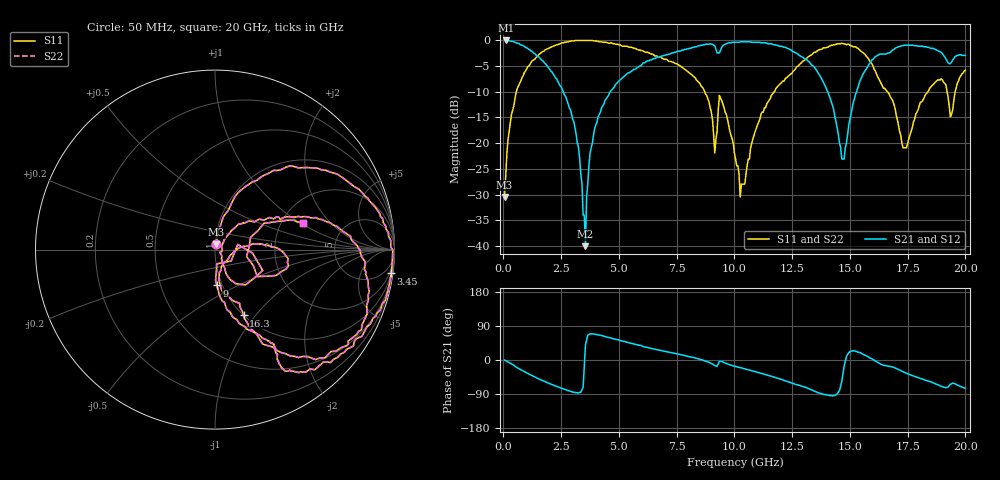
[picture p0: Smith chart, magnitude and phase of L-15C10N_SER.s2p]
# MHZ S MA R 50
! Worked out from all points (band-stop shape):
!   400 points, 50 MHz to 20 GHz, reference 50 ohm
!   highest |S21| = -0.09 dB at 100 MHz (marker M1); lowest = -40.0 dB at 3.55 GHz (marker M2)
!   |S21| within 3 dB of the highest: 6.904 GHz to 12.85 GHz (5.941 GHz wide, 60.2 % of centre); 16.15 GHz to 19.07 GHz (2.918 GHz wide, 16.6 % of centre) (the widest 2 of 4)
!   lowest |S11| = -30.5 dB at 50 MHz (marker M3), VSWR 1.06, Z = 50.6 + j2.96 ohm
!   |S11| at or under -10 dB: start of sweep to 560.8 MHz; 8.709 GHz to 11.73 GHz (3.022 GHz wide, 29.6 % of centre); 16.62 GHz to 18.38 GHz (1.763 GHz wide, 10.1 % of centre) (the widest 3 of 4)
!   |S22| runs from -30.5 to -0.1 dB; largest |S21 - S12| = 0
!   S11 on the Smith chart (normalised r, x): 50 MHz: 1.01, +0.06; 3.45 GHz: 1, -15; 9 GHz: 0.94, -0.39; 16.3 GHz: 1.00, -0.87; 20 GHz: 2.60, +1.05
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50  0.03 77.4  0.99 -0.1  0.99 -0.1  0.03 77.4
100  0.05 79.4  0.99 -1.9  0.99 -1.9  0.05 79.4
1050  0.55 53.4  0.83 -35.5  0.83 -35.5  0.55 53.4
2700  0.95 9.1  0.28 -78.7  0.28 -78.7  0.95 9.1
3400  0.99 -6.5  0.04 -78.1  0.04 -78.1  0.99 -6.5
3450  0.99 -7.7  0.02 -71.6  0.02 -71.6  0.99 -7.7
3550  0.99 -10.0  0.01 39.6  0.01 39.6  0.99 -10.0
3750  0.99 -14.5  0.08 69.0  0.08 69.0  0.99 -14.5
4100  0.97 -22.4  0.18 66.3  0.18 66.3  0.97 -22.4
6700  0.69 -59.8  0.68 26.6  0.68 26.6  0.69 -59.8
9000  0.2 -87.3  0.91 -9.2  0.91 -9.2  0.2 -87.3
9150  0.08 -83.3  0.88 -14.8  0.88 -14.8  0.08 -83.3
9350  0.29 -23.6  0.75 -3.6  0.75 -3.6  0.29 -23.6
10050  0.07 -56.4  0.95 -16.9  0.95 -16.9  0.07 -56.4
10250  0.03 -29.9  0.96 -20.0  0.96 -20.0  0.03 -29.9
11200  0.2 46.1  0.94 -35.9  0.94 -35.9  0.2 46.1
13350  0.72 8.1  0.57 -79.3  0.57 -79.3  0.72 8.1
14750  0.92 -30.9  0.07 -16.4  0.07 -16.4  0.92 -30.9
16300  0.4 -66.5  0.73 -9.8  0.73 -9.8  0.4 -66.5
16700  0.3 -71.0  0.75 -16.7  0.75 -16.7  0.3 -71.0
17450  0.09 -21.2  0.89 -35.1  0.89 -35.1  0.09 -21.2
20000  0.51 17.0  0.71 -74.9  0.71 -74.9  0.51 17.0
